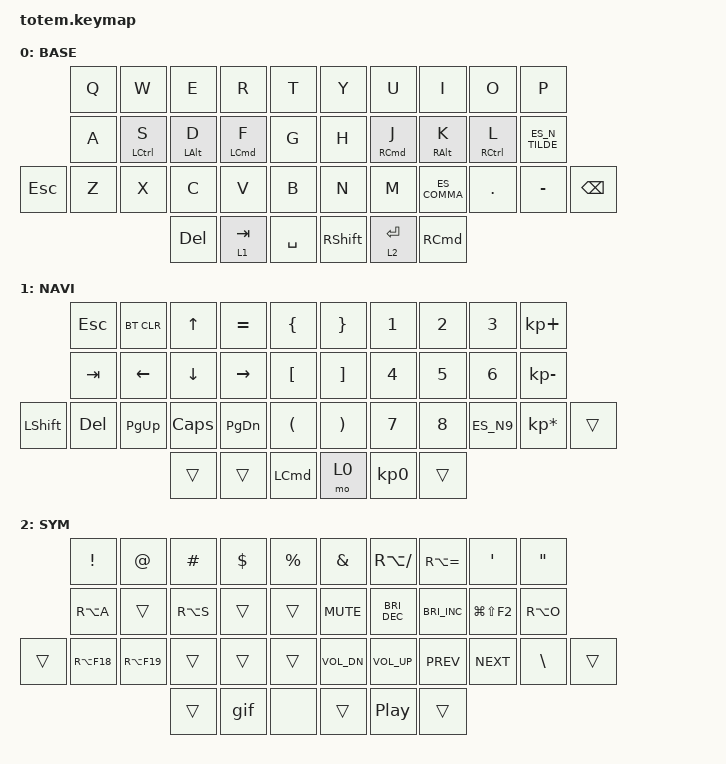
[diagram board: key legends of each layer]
//
//                                                        ▀▀▀▀▀     ▀▀▀▀▀          ▀▀█▀▀
//                                                        ▄▀▀▀▄  ▄  ▄▀▀▀▄  ▄  ▄▀▀▀▄  █  ▄▀▀▀▄
//                                                        █   █  █  █   █  █  █   █  █  █   █
//                                                         ▀▀▀   █   ▀▀▀   █   ▀▀▀   ▀   ▀▀▀
//                                                               █      ▄▄▄█▄▄▄    █   █  
//                                                               ▀      █  █  █     █▄█
//                                                             ▀▀▀▀▀    █  █  █      ▀
//                                                                      ▀  ▀  ▀
//
// ▄▄▄▄▄▄▄▄▄▄▄▄▄▄▄▄▄▄▄▄▄▄▄▄▄▄▄▄▄▄▄▄▄▄▄▄▄▄▄▄▄▄▄▄▄▄▄▄▄▄▄▄▄▄▄▄▄▄▄▄▄▄▄▄▄▄▄▄▄▄▄▄▄▄▄▄▄▄▄▄▄▄▄▄▄▄▄▄▄▄▄▄▄▄▄▄▄▄▄▄▄▄▄▄▄▄▄▄▄▄▄▄▄▄▄▄▄▄▄▄▄▄▄▄▄▄▄▄▄▄▄▄▄▄▄▄▄▄▄▄▄▄▄▄▄▄▄▄▄

#include <behaviors.dtsi>
#include <dt-bindings/zmk/bt.h>
#include <dt-bindings/zmk/keys.h>
#include "keys_es_latin_american.h"

#define BASE 0
#define NAV  1
#define SYM  2
#define ADJ  3
#define TVP1 4
#define TVP2 5

&mt {
    quick-tap-ms = <100>;
    global-quick-tap;
    flavor = "tap-preferred";
    tapping-term-ms = <170>;
};

/ {
    combos { compatible = "zmk,combos"; };

    macros {
        gif: gif {
            label = "giphy";
            compatible = "zmk,behavior-macro";
            #binding-cells = <0>;
            bindings =
                <&macro_press>,
                <&kp LSHFT>,
                <&macro_tap>,
                <&kp N2>,
                <&macro_release>,
                <&kp LSHFT>,
                <&macro_tap>,
                <&kp G &kp I &kp F>;
        };
    };

    keymap {
        compatible = "zmk,keymap";

        // ▄▄▄▄▄▄▄▄▄▄▄▄▄▄▄▄▄▄▄▄▄▄▄▄▄▄▄▄▄▄▄▄▄▄▄▄▄▄▄▄▄▄▄▄▄▄▄▄▄▄▄▄▄▄▄▄▄▄▄▄▄▄▄▄▄▄▄▄▄▄▄▄▄▄▄▄▄▄▄▄▄▄▄▄▄▄▄▄▄▄▄▄▄▄▄▄▄▄▄▄▄▄▄▄▄▄▄▄▄▄▄▄▄▄▄▄▄▄▄▄▄▄▄▄▄▄▄▄▄▄▄▄▄▄▄▄▄▄▄▄▄▄▄▄▄▄▄▄▄

        base_layer {
            // ┏━━━━━━━━━━━━━━━━━━━━━━━━━━━━━━━━━━━━━━━┓

            label = "BASE";

            // ┗━━━━━━━━━━━━━━━━━━━━━━━━━━━━━━━━━━━━━━━┛
            //             ┏━━━━━━━━━━━┳━━━━━━━━━━━┳━━━━━━━━━━━┳━━━━━━━━━━━┳━━━━━━━━━━━┓   ┏━━━━━━━━━━━┳━━━━━━━━━━━┳━━━━━━━━━━━┳━━━━━━━━━━━┳━━━━━━━━━━━┓
            //             ┃     Q     ┃     W     ┃     F     ┃     P     ┃     G     ┃   ┃     J     ┃     L     ┃     U     ┃     Y     ┃     ;     ┃
            //             ┣━━━━━━━━━━━╋━━━━━━━━━━━╋━━━━━━━━━━━╋━━━━━━━━━━━╋━━━━━━━━━━━┫   ┣━━━━━━━━━━━╋━━━━━━━━━━━╋━━━━━━━━━━━╋━━━━━━━━━━━╋━━━━━━━━━━━┫
            //             ┃     A     ┃     R     ┃     S     ┃     T     ┃     D     ┃   ┃     H     ┃     N     ┃     E     ┃     I     ┃     O     ┃
            // ┏━━━━━━━━━━━╋━━━━━━━━━━━╋━━━━━━━━━━━╋━━━━━━━━━━━╋━━━━━━━━━━━╋━━━━━━━━━━━┫   ┣━━━━━━━━━━━╋━━━━━━━━━━━╋━━━━━━━━━━━╋━━━━━━━━━━━╋━━━━━━━━━━━╋━━━━━━━━━━━┓
            // ┃     Q     ┃     Z     ┃     X     ┃     C     ┃     V     ┃     B     ┃   ┃     K     ┃     M     ┃     ,     ┃     .     ┃     /     ┃     \     ┃
            // ┗━━━━━━━━━━━┻━━━━━━━━━━━┻━━━━━━━━━━━╋━━━━━━━━━━━╋━━━━━━━━━━━╋━━━━━━━━━━━┫   ┣━━━━━━━━━━━╋━━━━━━━━━━━╋━━━━━━━━━━━╋━━━━━━━━━━━┻━━━━━━━━━━━┻━━━━━━━━━━━┛
            //                                     ┃    DEL    ┃    TAB    ┃    SPC    ┃   ┃   ENTER   ┃           ┃   BSPC    ┃
            //                                     ┗━━━━━━━━━━━┻━━━━━━━━━━━┻━━━━━━━━━━━┛   ┗━━━━━━━━━━━┻━━━━━━━━━━━┻━━━━━━━━━━━┛

            bindings = <
         &kp Q  &kp W               &kp E           &kp R               &kp T        &kp Y            &kp U                &kp I              &kp O                &kp P
         &kp A  &mt LEFT_CONTROL S  &mt LEFT_ALT D  &mt LEFT_COMMAND F  &kp G        &kp H            &mt RIGHT_COMMAND J  &mt RALT K         &mt RIGHT_CONTROL L  &kp ES_N_TILDE
&kp ESC  &kp Z  &kp X               &kp C           &kp V               &kp B        &kp N            &kp M                &kp ES_COMMA       &kp DOT              &kp MINUS       &kp BSPC
                                    &kp DEL         &lt 1 TAB           &kp SPACE    &kp RIGHT_SHIFT  &lt 2 ENTER          &kp RIGHT_COMMAND
            >;
        };

        // ▄▄▄▄▄▄▄▄▄▄▄▄▄▄▄▄▄▄▄▄▄▄▄▄▄▄▄▄▄▄▄▄▄▄▄▄▄▄▄▄▄▄▄▄▄▄▄▄▄▄▄▄▄▄▄▄▄▄▄▄▄▄▄▄▄▄▄▄▄▄▄▄▄▄▄▄▄▄▄▄▄▄▄▄▄▄▄▄▄▄▄▄▄▄▄▄▄▄▄▄▄▄▄▄▄▄▄▄▄▄▄▄▄▄▄▄▄▄▄▄▄▄▄▄▄▄▄▄▄▄▄▄▄▄▄▄▄▄▄▄▄▄▄▄▄▄▄▄▄

        nav_layer {
            // ┏━━━━━━━━━━━━━━━━━━━━━━━━━━━━━━━━━━━━━━━┓

            label = "NAVI";

            // ┗━━━━━━━━━━━━━━━━━━━━━━━━━━━━━━━━━━━━━━━┛
            //             ┏━━━━━━━━━━━┳━━━━━━━━━━━┳━━━━━━━━━━━┳━━━━━━━━━━━┳━━━━━━━━━━━┓   ┏━━━━━━━━━━━┳━━━━━━━━━━━┳━━━━━━━━━━━┳━━━━━━━━━━━┳━━━━━━━━━━━┓
            //             ┃           ┃           ┃     UP    ┃           ┃     {     ┃   ┃     }     ┃     7     ┃     8     ┃     9     ┃     +     ┃
            //             ┣━━━━━━━━━━━╋━━━━━━━━━━━╋━━━━━━━━━━━╋━━━━━━━━━━━╋━━━━━━━━━━━┫   ┣━━━━━━━━━━━╋━━━━━━━━━━━╋━━━━━━━━━━━╋━━━━━━━━━━━╋━━━━━━━━━━━┫
            //             ┃   SHIFT   ┃   LEFT    ┃    DOWN   ┃   RIGHT   ┃     [     ┃   ┃     ]     ┃     4     ┃     5     ┃     6     ┃     -     ┃
            // ┏━━━━━━━━━━━╋━━━━━━━━━━━╋━━━━━━━━━━━╋━━━━━━━━━━━╋━━━━━━━━━━━╋━━━━━━━━━━━┫   ┣━━━━━━━━━━━╋━━━━━━━━━━━╋━━━━━━━━━━━╋━━━━━━━━━━━╋━━━━━━━━━━━╋━━━━━━━━━━━┓
            // ┃           ┃           ┃   P UP    ┃  C LOCK   ┃  P DOWN   ┃     (     ┃   ┃     )     ┃     1     ┃     2     ┃     3     ┃     *     ┃           ┃
            // ┗━━━━━━━━━━━┻━━━━━━━━━━━┻━━━━━━━━━━━╋━━━━━━━━━━━╋━━━━━━━━━━━╋━━━━━━━━━━━┫   ┣━━━━━━━━━━━╋━━━━━━━━━━━╋━━━━━━━━━━━╋━━━━━━━━━━━┻━━━━━━━━━━━┻━━━━━━━━━━━┛
            //                                     ┃           ┃    TAB    ┃    SPC    ┃   ┃    DEL    ┃     0     ┃           ┃
            //                                     ┗━━━━━━━━━━━┻━━━━━━━━━━━┻━━━━━━━━━━━┛   ┗━━━━━━━━━━━┻━━━━━━━━━━━┻━━━━━━━━━━━┛

            bindings = <
                &kp ESC  &bt BT_CLR  &kp UP    &kp EQUAL  &kp LBRC            &kp RBRC  &kp N1        &kp NUMBER_2  &kp NUMBER_3  &kp KP_PLUS
                &kp TAB  &kp LEFT    &kp DOWN  &kp RIGHT  &kp LBKT            &kp RBKT  &kp NUMBER_4  &kp NUMBER_5  &kp N6        &kp KP_MINUS
&kp LEFT_SHIFT  &kp DEL  &kp PG_UP   &kp CAPS  &kp PG_DN  &kp LPAR            &kp RPAR  &kp N7        &kp N8        &kp ES_N9     &kp KP_MULTIPLY  &trans
                                     &trans    &trans     &kp LEFT_COMMAND    &mo 0     &kp KP_N0     &trans
            >;
        };

        // ▄▄▄▄▄▄▄▄▄▄▄▄▄▄▄▄▄▄▄▄▄▄▄▄▄▄▄▄▄▄▄▄▄▄▄▄▄▄▄▄▄▄▄▄▄▄▄▄▄▄▄▄▄▄▄▄▄▄▄▄▄▄▄▄▄▄▄▄▄▄▄▄▄▄▄▄▄▄▄▄▄▄▄▄▄▄▄▄▄▄▄▄▄▄▄▄▄▄▄▄▄▄▄▄▄▄▄▄▄▄▄▄▄▄▄▄▄▄▄▄▄▄▄▄▄▄▄▄▄▄▄▄▄▄▄▄▄▄▄▄▄▄▄▄▄▄▄▄▄

        sim_layer {
            // ┏━━━━━━━━━━━━━━━━━━━━━━━━━━━━━━━━━━━━━━━┓

            label = "SYM";

            // ┗━━━━━━━━━━━━━━━━━━━━━━━━━━━━━━━━━━━━━━━┛
            //             ┏━━━━━━━━━━━┳━━━━━━━━━━━┳━━━━━━━━━━━┳━━━━━━━━━━━┳━━━━━━━━━━━┓   ┏━━━━━━━━━━━┳━━━━━━━━━━━┳━━━━━━━━━━━┳━━━━━━━━━━━┳━━━━━━━━━━━┓
            //             ┃     !     ┃     @     ┃     #     ┃     $     ┃     %     ┃   ┃     ˆ     ┃     &     ┃     Ü     ┃     '     ┃     "     ┃
            //             ┣━━━━━━━━━━━╋━━━━━━━━━━━╋━━━━━━━━━━━╋━━━━━━━━━━━╋━━━━━━━━━━━┫   ┣━━━━━━━━━━━╋━━━━━━━━━━━╋━━━━━━━━━━━╋━━━━━━━━━━━╋━━━━━━━━━━━┫
            //             ┃     Ä     ┃           ┃    SZ     ┃           ┃           ┃   ┃   MUTE    ┃   YEN     ┃   EURO    ┃  POUND    ┃     Ö     ┃
            // ┏━━━━━━━━━━━╋━━━━━━━━━━━╋━━━━━━━━━━━╋━━━━━━━━━━━╋━━━━━━━━━━━╋━━━━━━━━━━━┫   ┣━━━━━━━━━━━╋━━━━━━━━━━━╋━━━━━━━━━━━╋━━━━━━━━━━━╋━━━━━━━━━━━╋━━━━━━━━━━━┓
            // ┃           ┃  EMAIL1   ┃  EMAIL2   ┃           ┃           ┃           ┃   ┃   VOL-    ┃   VOL+    ┃   LAST    ┃   NEXT    ┃     \     ┃           ┃
            // ┗━━━━━━━━━━━┻━━━━━━━━━━━┻━━━━━━━━━━━╋━━━━━━━━━━━╋━━━━━━━━━━━╋━━━━━━━━━━━┫   ┣━━━━━━━━━━━╋━━━━━━━━━━━╋━━━━━━━━━━━╋━━━━━━━━━━━┻━━━━━━━━━━━┻━━━━━━━━━━━┛
            //                                     ┃           ┃    GIF    ┃    ADJ    ┃   ┃           ┃           ┃           ┃
            //                                     ┗━━━━━━━━━━━┻━━━━━━━━━━━┻━━━━━━━━━━━┛   ┗━━━━━━━━━━━┻━━━━━━━━━━━┻━━━━━━━━━━━┛

            bindings = <
        &kp EXCL     &kp AT       &kp HASH   &kp DLLR  &kp PRCNT    &kp AMPERSAND  &kp RA(SLASH)  &kp RA(EQUAL)  &kp SQT         &kp DQT
        &kp RA(A)    &trans       &kp RA(S)  &trans    &trans       &kp C_MUTE     &kp C_BRI_DEC  &kp C_BRI_INC  &kp LG(LS(F2))  &kp RA(O)
&trans  &kp RA(F18)  &kp RA(F19)  &trans     &trans    &trans       &kp C_VOL_DN   &kp C_VOL_UP   &kp C_PREV     &kp C_NEXT      &kp BSLH   &trans
                                  &trans     &gif      &none        &trans         &kp C_PP       &trans
            >;
        };

        // ▄▄▄▄▄▄▄▄▄▄▄▄▄▄▄▄▄▄▄▄▄▄▄▄▄▄▄▄▄▄▄▄▄▄▄▄▄▄▄▄▄▄▄▄▄▄▄▄▄▄▄▄▄▄▄▄▄▄▄▄▄▄▄▄▄▄▄▄▄▄▄▄▄▄▄▄▄▄▄▄▄▄▄▄▄▄▄▄▄▄▄▄▄▄▄▄▄▄▄▄▄▄▄▄▄▄▄▄▄▄▄▄▄▄▄▄▄▄▄▄▄▄▄▄▄▄▄▄▄▄▄▄▄▄▄▄▄▄▄▄▄▄▄▄▄▄▄▄▄
        // ▄▄▄▄▄▄▄▄▄▄▄▄▄▄▄▄▄▄▄▄▄▄▄▄▄▄▄▄▄▄▄▄▄▄▄▄▄▄▄▄▄▄▄▄▄▄▄▄▄▄▄▄▄▄▄▄▄▄▄▄▄▄▄▄▄▄▄▄▄▄▄▄▄▄▄▄▄▄▄▄▄▄▄▄▄▄▄▄▄▄▄▄▄▄▄▄▄▄▄▄▄▄▄▄▄▄▄▄▄▄▄▄▄▄▄▄▄▄▄▄▄▄▄▄▄▄▄▄▄▄▄▄▄▄▄▄▄▄▄▄▄▄▄▄▄▄▄▄▄
        // ▄▄▄▄▄▄▄▄▄▄▄▄▄▄▄▄▄▄▄▄▄▄▄▄▄▄▄▄▄▄▄▄▄▄▄▄▄▄▄▄▄▄▄▄▄▄▄▄▄▄▄▄▄▄▄▄▄▄▄▄▄▄▄▄▄▄▄▄▄▄▄▄▄▄▄▄▄▄▄▄▄▄▄▄▄▄▄▄▄▄▄▄▄▄▄▄▄▄▄▄▄▄▄▄▄▄▄▄▄▄▄▄▄▄▄▄▄▄▄▄▄▄▄▄▄▄▄▄▄▄▄▄▄▄▄▄▄▄▄▄▄▄▄▄▄▄▄▄▄
    };
};
